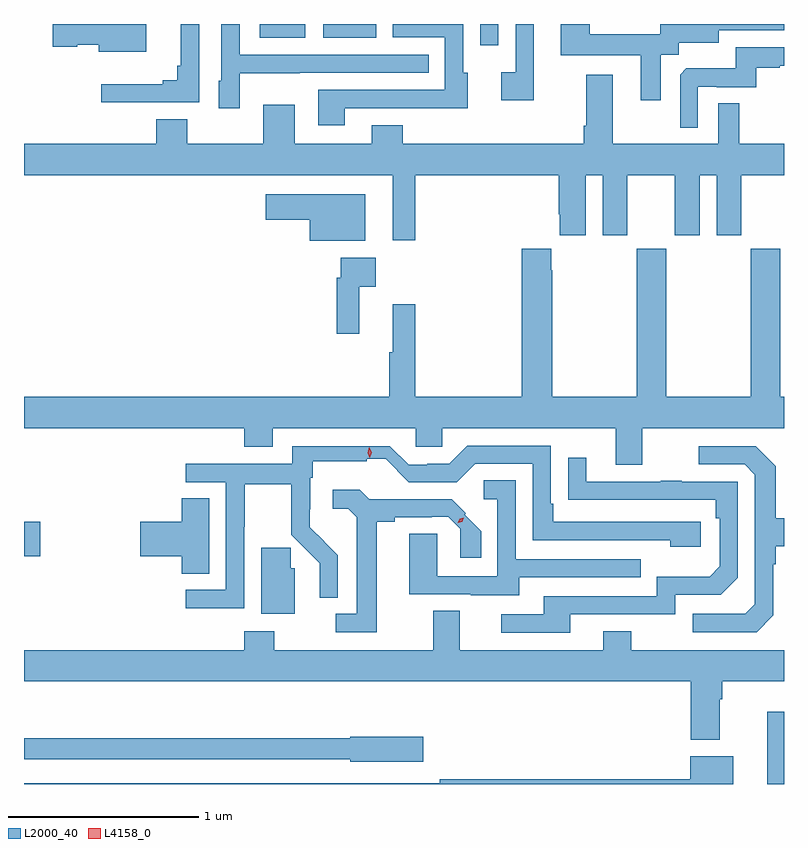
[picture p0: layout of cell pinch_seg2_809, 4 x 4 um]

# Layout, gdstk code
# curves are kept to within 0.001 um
import gdstk
lib = gdstk.Library(unit=1e-6, precision=1e-09)
def R(c, l, rs):  # rectangles x0, y0, x1, y1
    for r in rs: c.add(gdstk.rectangle(r[:2], r[2:], *l))
def P(c, l, *ps):  # polygons
    for p in ps: c.add(gdstk.Polygon(p, *l))
L2000_40 = (2000, 40)
L4158_0 = (4158, 0)

pinch_seg2_809 = lib.new_cell('pinch_seg2_809')
R(pinch_seg2_809, L2000_40, [(750.293,592.483,750.381,592.864), (746.381,593.681,746.467,593.864), (748.782,596.37,748.878,596.483), (747.623,596.411,747.862,596.483), (747.956,596.411,748.234,596.483)])
P(pinch_seg2_809, L2000_40, [(749.731,596.32),(749.826,596.32),(749.826,596.384),(750.037,596.384),(750.037,596.451),(750.381,596.451),(750.381,596.483),(749.729,596.483),(749.729,596.428),(749.359,596.428),(749.359,596.483),(749.207,596.483),(749.207,596.318),(749.627,596.318),(749.627,596.082),(749.731,596.082)],
  [(748.069,596.04),(748.499,596.04),(748.499,596.039),(748.717,596.039),(748.717,596.226),(748.692,596.226),(748.692,596.483),(748.323,596.483),(748.323,596.412),(748.596,596.412),(748.596,596.136),(747.929,596.136),(747.929,595.95),(748.069,595.95)],
  [(747.025,596.483),(746.532,596.483),(746.532,596.363),(746.661,596.363),(746.661,596.375),(746.774,596.375),(746.774,596.336),(747.025,596.336)],
  [(749.065,596.483),(748.968,596.483),(748.968,596.23),(748.893,596.23),(748.893,596.082),(749.065,596.082)],
  [(747.516,596.225),(747.833,596.225),(747.833,596.226),(748.511,596.226),(748.511,596.322),(747.516,596.322),(747.516,596.483),(747.42,596.483),(747.42,596.184),(747.407,596.184),(747.407,596.04),(747.516,596.04)],
  [(747.303,596.483),(747.206,596.483),(747.206,596.263),(747.187,596.263),(747.187,596.186),(747.11,596.186),(747.11,596.167),(746.787,596.167),(746.787,596.07),(747.303,596.07)],
  [(749.928,596.154),(750.028,596.154),(750.028,596.151),(750.236,596.151),(750.236,596.253),(750.359,596.253),(750.359,596.264),(750.381,596.264),(750.381,596.361),(750.126,596.361),(750.126,596.249),(749.867,596.249),(749.835,596.217),(749.835,595.937),(749.928,595.937)],
  [(748.439,595.688),(749.195,595.688),(749.195,595.483),(749.201,595.483),(749.201,595.371),(749.338,595.371),(749.338,595.688),(749.426,595.688),(749.426,595.371),(749.557,595.371),(749.557,595.688),(749.807,595.688),(749.807,595.371),(749.938,595.371),(749.938,595.688),(750.026,595.688),(750.026,595.371),(750.157,595.371),(750.157,595.688),(750.381,595.688),(750.381,595.852),(750.145,595.852),(750.145,596.066),(750.036,596.066),(750.036,595.852),(749.479,595.852),(749.479,596.215),(749.339,596.215),(749.339,595.948),(749.327,595.948),(749.327,595.852),(748.375,595.852),(748.375,595.951),(748.211,595.951),(748.211,595.852),(747.805,595.852),(747.805,596.059),(747.641,596.059),(747.641,595.852),(747.241,595.852),(747.241,595.981),(747.077,595.981),(747.077,595.852),(746.381,595.852),(746.381,595.688),(748.322,595.688),(748.322,595.344),(748.439,595.344)],
  [(748.177,595.588),(747.654,595.588),(747.654,595.454),(747.884,595.454),(747.884,595.343),(748.177,595.343)],
  [(749.635,594.356),(750.381,594.356),(750.381,594.52),(750.36,594.52),(750.36,595.3),(750.205,595.3),(750.205,594.52),(749.76,594.52),(749.76,595.3),(749.605,595.3),(749.605,594.52),(749.16,594.52),(749.16,595.187),(749.155,595.187),(749.155,595.3),(749,595.3),(749,594.52),(748.439,594.52),(748.439,595.009),(748.322,595.009),(748.322,594.756),(748.303,594.756),(748.303,594.52),(746.381,594.52),(746.381,594.356),(747.539,594.356),(747.539,594.257),(747.691,594.257),(747.691,594.356),(748.443,594.356),(748.443,594.258),(748.581,594.258),(748.581,594.356),(749.495,594.356),(749.495,594.162),(749.635,594.162)],
  [(748.145,595.1),(748.231,595.1),(748.231,595.252),(748.047,595.252),(748.047,595.148),(748.027,595.148),(748.027,594.852),(748.145,594.852)],
  [(747.54,593.836),(747.543,593.836),(747.543,594.06),(747.787,594.06),(747.787,593.795),(747.938,593.645),(747.938,593.464),(748.032,593.464),(748.032,593.687),(747.886,593.835),(747.886,593.93),(747.888,593.93),(747.888,594.094),(747.901,594.094),(747.901,594.181),(748.185,594.181),(748.185,594.194),(748.285,594.194),(748.407,594.072),(748.659,594.072),(748.755,594.168),(749.058,594.168),(749.058,593.766),(749.783,593.766),(749.783,593.732),(749.944,593.732),(749.944,593.862),(749.167,593.862),(749.167,593.959),(749.154,593.959),(749.154,594.264),(748.715,594.264),(748.619,594.168),(748.504,594.168),(748.504,594.162),(748.405,594.162),(748.306,594.261),(747.792,594.261),(747.792,594.168),(747.231,594.168),(747.231,594.072),(747.444,594.072),(747.444,593.505),(747.231,593.505),(747.231,593.407),(747.54,593.407)],
  [(750.324,593.37),(750.324,593.639),(750.337,593.639),(750.337,593.735),(750.381,593.735),(750.381,593.883),(750.337,593.883),(750.337,594.155),(750.231,594.261),(749.931,594.261),(749.931,594.165),(750.174,594.165),(750.228,594.111),(750.228,593.43),(750.177,593.379),(749.901,593.379),(749.901,593.283),(750.237,593.283)],
  [(749.257,593.376),(749.808,593.376),(749.808,593.478),(750.048,593.478),(750.138,593.568),(750.138,594.075),(749.843,594.075),(749.843,594.08),(749.731,594.08),(749.731,594.075),(749.341,594.075),(749.341,594.199),(749.245,594.199),(749.245,593.98),(750.022,593.979),(750.022,593.882),(750.042,593.882),(750.042,593.628),(749.989,593.575),(749.712,593.575),(749.712,593.472),(749.117,593.472),(749.117,593.376),(748.893,593.376),(748.893,593.28),(749.257,593.28)],
  [(748.987,593.571),(749.627,593.571),(749.627,593.667),(748.968,593.667),(748.968,594.083),(748.8,594.083),(748.8,593.982),(748.872,593.982),(748.872,593.577),(748.555,593.577),(748.555,593.801),(748.409,593.801),(748.409,593.481),(748.733,593.481),(748.733,593.477),(748.987,593.477)],
  [(748.237,593.864),(748.333,593.864),(748.333,593.886),(748.526,593.886),(748.526,593.889),(748.614,593.889),(748.677,593.826),(748.677,593.673),(748.787,593.673),(748.787,593.814),(748.701,593.901),(748.707,593.907),(748.631,593.982),(748.198,593.981),(748.148,594.031),(748.005,594.031),(748.005,593.933),(748.087,593.933),(748.133,593.887),(748.133,593.379),(748.023,593.379),(748.023,593.283),(748.237,593.283)],
  [(747.355,593.987),(747.212,593.987),(747.212,593.864),(746.994,593.864),(746.994,593.681),(747.212,593.681),(747.212,593.59),(747.355,593.59)],
  [(747.807,593.618),(747.786,593.618),(747.786,593.726),(747.629,593.726),(747.629,593.378),(747.807,593.378)],
  [(750.043,592.928),(750.056,592.928),(750.056,593.024),(750.381,593.024),(750.381,593.188),(749.577,593.188),(749.577,593.287),(749.429,593.287),(749.429,593.188),(748.675,593.188),(748.675,593.396),(748.535,593.396),(748.535,593.188),(747.699,593.188),(747.699,593.287),(747.539,593.287),(747.539,593.188),(746.381,593.188),(746.381,593.024),(749.891,593.024),(749.891,592.715),(750.043,592.715)],
  [(748.483,592.731),(748.098,592.731),(748.098,592.723),(746.381,592.723),(746.381,592.614),(748.098,592.614),(748.098,592.601),(748.483,592.601)],
  [(750.115,592.63),(749.888,592.63),(749.888,592.508),(748.57,592.508),(748.57,592.488),(746.381,592.488),(746.381,592.483),(750.115,592.483)])
P(pinch_seg2_809, L4158_0, [(748.665,593.858),(748.665,593.858),(748.674,593.879),(748.696,593.885),(748.696,593.885),(748.696,593.885),(748.687,593.864),(748.666,593.858)],
  [(748.201,594.199),(748.2,594.2),(748.19,594.227),(748.199,594.255),(748.199,594.255),(748.199,594.255),(748.21,594.228),(748.201,594.2)])

lib.write_gds('pinch_seg2_809.gds')
